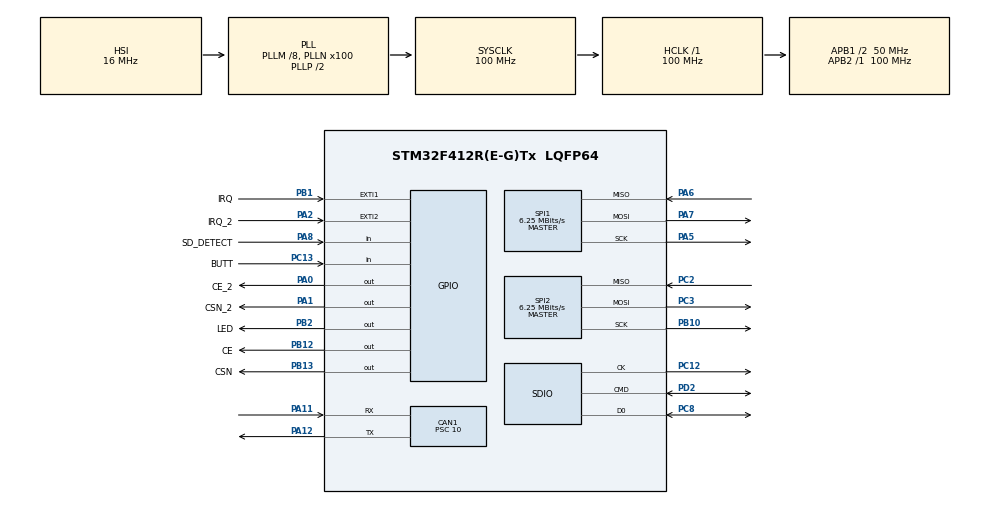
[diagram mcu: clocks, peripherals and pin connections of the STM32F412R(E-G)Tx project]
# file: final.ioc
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CAN1.BS1=CAN_BS1_8TQ
CAN1.CalculateBaudRate=500000
CAN1.CalculateTimeBit=2000
CAN1.CalculateTimeQuantum=200.0
CAN1.Prescaler=10
Dma.Request0=SDIO_RX
Dma.Request1=SDIO_TX
Dma.SDIO_RX.0.Direction=DMA_PERIPH_TO_MEMORY
Dma.SDIO_RX.0.FIFOMode=DMA_FIFOMODE_ENABLE
Dma.SDIO_RX.0.FIFOThreshold=DMA_FIFO_THRESHOLD_FULL
Dma.SDIO_RX.0.Instance=DMA2_Stream3
Dma.SDIO_RX.0.MemBurst=DMA_MBURST_INC4
Dma.SDIO_RX.0.MemDataAlignment=DMA_MDATAALIGN_WORD
Dma.SDIO_RX.0.MemInc=DMA_MINC_ENABLE
Dma.SDIO_RX.0.Mode=DMA_PFCTRL
Dma.SDIO_RX.0.PeriphBurst=DMA_PBURST_INC4
Dma.SDIO_RX.0.PeriphDataAlignment=DMA_PDATAALIGN_WORD
Dma.SDIO_RX.0.PeriphInc=DMA_PINC_DISABLE
Dma.SDIO_RX.0.Priority=DMA_PRIORITY_LOW
Dma.SDIO_TX.1.Direction=DMA_MEMORY_TO_PERIPH
Dma.SDIO_TX.1.FIFOMode=DMA_FIFOMODE_ENABLE
Dma.SDIO_TX.1.FIFOThreshold=DMA_FIFO_THRESHOLD_FULL
Dma.SDIO_TX.1.Instance=DMA2_Stream6
Dma.SDIO_TX.1.MemBurst=DMA_MBURST_INC4
Dma.SDIO_TX.1.MemDataAlignment=DMA_MDATAALIGN_WORD
Dma.SDIO_TX.1.MemInc=DMA_MINC_ENABLE
Dma.SDIO_TX.1.Mode=DMA_PFCTRL
Dma.SDIO_TX.1.PeriphBurst=DMA_PBURST_INC4
Dma.SDIO_TX.1.PeriphDataAlignment=DMA_PDATAALIGN_WORD
Dma.SDIO_TX.1.PeriphInc=DMA_PINC_DISABLE
Dma.SDIO_TX.1.Priority=DMA_PRIORITY_LOW
FATFS.BSP.number=1
FATFS.USE_DMA_CODE_SD=1
FATFS._MAX_SS=4096
FATFS._USE_LFN=1
FATFS0.BSP.STBoard=false
FATFS0.BSP.api=Unknown
FATFS0.BSP.instance=PA8
FATFS0.BSP.ip=GPIO
FATFS0.BSP.mode=Input
FATFS0.BSP.name=Detect_SDIO
FATFS0.BSP.solution=PA8
Mcu.Family=STM32F4
Mcu.Name=STM32F412R(E-G)Tx
Mcu.Package=LQFP64
NVIC.CAN1_RX1_IRQn=true\:0\:0\:false\:false\:true\:true\:true\:true
NVIC.DMA2_Stream3_IRQn=true\:0\:0\:false\:false\:true\:false\:true\:true
NVIC.DMA2_Stream6_IRQn=true\:0\:0\:false\:false\:true\:false\:true\:true
NVIC.EXTI1_IRQn=true\:0\:0\:false\:false\:true\:true\:true\:true
NVIC.EXTI2_IRQn=true\:0\:0\:false\:false\:true\:true\:true\:true
NVIC.PriorityGroup=NVIC_PRIORITYGROUP_4
NVIC.SDIO_IRQn=true\:0\:0\:false\:false\:true\:true\:true\:true
PA0.GPIO_Label=CE_2
PA0.GPIO_Speed=GPIO_SPEED_FREQ_HIGH
PA0.PinState=GPIO_PIN_SET
PA0.Signal=GPIO_Output
PA1.GPIO_Label=CSN_2
PA1.GPIO_Speed=GPIO_SPEED_FREQ_HIGH
PA1.Signal=GPIO_Output
PA11.Mode=CAN_Activate
PA11.Signal=CAN1_RX
PA12.Mode=CAN_Activate
PA12.Signal=CAN1_TX
PA13.Mode=Serial_Wire
PA13.Signal=SYS_JTMS-SWDIO
PA14.Mode=Serial_Wire
PA14.Signal=SYS_JTCK-SWCLK
PA2.GPIO_Label=IRQ_2
PA2.GPIO_ModeDefaultEXTI=GPIO_MODE_IT_FALLING
PA2.Signal=GPXTI2
PA5.Mode=Full_Duplex_Master
PA5.Signal=SPI1_SCK
PA6.Mode=Full_Duplex_Master
PA6.Signal=SPI1_MISO
PA7.Mode=Full_Duplex_Master
PA7.Signal=SPI1_MOSI
PA8.GPIO_Label=SD_DETECT
PA8.GPIO_PuPd=GPIO_PULLDOWN
PA8.Signal=GPIO_Input
PB1.GPIO_Label=IRQ
PB1.GPIO_ModeDefaultEXTI=GPIO_MODE_IT_FALLING
PB1.Signal=GPXTI1
PB10.Mode=Full_Duplex_Master
PB10.Signal=SPI2_SCK
PB12.GPIO_Label=CE
PB12.GPIO_Speed=GPIO_SPEED_FREQ_HIGH
PB12.Signal=GPIO_Output
PB13.GPIO_Label=CSN
PB13.GPIO_Speed=GPIO_SPEED_FREQ_HIGH
PB13.PinState=GPIO_PIN_SET
PB13.Signal=GPIO_Output
PB2.GPIO_Label=LED
PB2.Signal=GPIO_Output
PC12.Mode=SD_1_bit
PC12.Signal=SDIO_CK
PC13.GPIO_Label=BUTT
PC13.GPIO_PuPd=GPIO_PULLDOWN
PC13.Signal=GPIO_Input
PC2.Mode=Full_Duplex_Master
PC2.Signal=SPI2_MISO
PC3.Mode=Full_Duplex_Master
PC3.Signal=SPI2_MOSI
PC8.GPIO_PuPd=GPIO_PULLUP
PC8.Mode=SD_1_bit
PC8.Signal=SDIO_D0
PD2.GPIO_PuPd=GPIO_PULLUP
PD2.Mode=SD_1_bit
PD2.Signal=SDIO_CMD
PH0\ -\ OSC_IN.Mode=HSE-External-Oscillator
PH0\ -\ OSC_IN.Signal=RCC_OSC_IN
PH1\ -\ OSC_OUT.Mode=HSE-External-Oscillator
PH1\ -\ OSC_OUT.Signal=RCC_OSC_OUT
ProjectManager.HeapSize=0x200
ProjectManager.StackSize=0x400
ProjectManager.TargetToolchain=STM32CubeIDE
RCC.AHBFreq_Value=100000000
RCC.APB1CLKDivider=RCC_HCLK_DIV2
RCC.APB1Freq_Value=50000000
RCC.APB1TimFreq_Value=100000000
RCC.APB2Freq_Value=100000000
RCC.APB2TimFreq_Value=100000000
RCC.CortexFreq_Value=100000000
RCC.HCLKFreq_Value=100000000
RCC.HSE_VALUE=8000000
RCC.PLLM=8
RCC.PLLN=100
RCC.PLLQ=4
RCC.SYSCLKFreq_VALUE=100000000
RCC.SYSCLKSource=RCC_SYSCLKSOURCE_PLLCLK
RCC.USBFreq_Value=50000000
RCC.VCOOutputFreq_Value=200000000
SPI1.BaudRatePrescaler=SPI_BAUDRATEPRESCALER_16
SPI1.CalculateBaudRate=6.25 MBits/s
SPI1.Direction=SPI_DIRECTION_2LINES
SPI1.Mode=SPI_MODE_MASTER
SPI1.VirtualType=VM_MASTER
SPI2.BaudRatePrescaler=SPI_BAUDRATEPRESCALER_8
SPI2.CalculateBaudRate=6.25 MBits/s
SPI2.Direction=SPI_DIRECTION_2LINES
SPI2.Mode=SPI_MODE_MASTER
SPI2.VirtualType=VM_MASTER
VP_FATFS_VS_SDIO.Mode=SDIO
board=custom

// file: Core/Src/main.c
/* USER CODE BEGIN Header */
/**
  ******************************************************************************
  * @file           : main.c
  * @brief          : Main program body
  ******************************************************************************
  * @attention
  *
  * Copyright (c) 2024 STMicroelectronics.
  * All rights reserved.
  *
  * This software is licensed under terms that can be found in the LICENSE file
  * in the root directory of this software component.
  * If no LICENSE file comes with this software, it is provided AS-IS.
  *
  ******************************************************************************
  */
/* USER CODE END Header */
#include "main.h"
#include "can.h"
#include "dma.h"
#include "fatfs.h"
#include "sdio.h"
#include "spi.h"
#include "gpio.h"

/* USER CODE BEGIN Includes */
#include "nrf24l01p.h"
/* USER CODE END Includes */

/* USER CODE BEGIN PD */
#define SPI_TX SPI_1
#define SPI_RX SPI_2
/* USER CODE END PD */

/* USER CODE BEGIN PV */
extern uint8_t RX_Message[8];
uint8_t tx_data[NRF24L01P_PAYLOAD_LENGTH] = {'O','m','a','r','2','9','8','\0'};
uint8_t rx_data[NRF24L01P_PAYLOAD_LENGTH] = { 'M', 'o' , '1', '1' , '2' ,'1' , '3','\0'};

FIL Fil;
FATFS FatFs;
FRESULT FR_Status;
int rec = 0;
/* USER CODE END PV */

void SystemClock_Config(void);
/* USER CODE BEGIN PFP */
void HAL_GPIO_EXTI_Callback(uint16_t GPIO_Pin);

static void SDIO_SDCard_Test(void);
static void SD_Init(void);
static void SD_Write(char* data);
static void SD_ClrFile(void);
static void SD_Unmount(void);
/* USER CODE END PFP */

int main(void)
{

  /* MCU Configuration--------------------------------------------------------*/

  /* Reset of all peripherals, Initializes the Flash interface and the Systick. */
  HAL_Init();

  /* Configure the system clock */
  SystemClock_Config();

  /* Initialize all configured peripherals */
  MX_GPIO_Init();
  MX_DMA_Init();
  MX_CAN1_Init();
  MX_SPI2_Init();
  MX_SDIO_SD_Init();
  MX_FATFS_Init();
  MX_SPI1_Init();
  /* USER CODE BEGIN 2 */
  SD_Init();
  SD_ClrFile();
  SD_Write("Hello\n");
  SD_Write("Full Test\n");

  nrf24l01p_rx_init(2500, _1Mbps, SPI_RX);
  nrf24l01p_tx_init(2490, _1Mbps, SPI_TX);

  /* USER CODE END 2 */

  /* Infinite loop */
  while (1)
  {

    /* USER CODE BEGIN 3 */

	  if(HAL_GPIO_ReadPin(BUTT_GPIO_Port, BUTT_Pin))
	  {
        nrf24l01p_tx_transmit(tx_data, SPI_TX);
		HAL_GPIO_WritePin(GPIOB, GPIO_PIN_2, 1);
		HAL_Delay(300);
		HAL_GPIO_WritePin(GPIOB, GPIO_PIN_2, 0);
	  }
  }
  /* USER CODE END 3 */
}

void SystemClock_Config(void)
{
  RCC_OscInitTypeDef RCC_OscInitStruct = {0};
  RCC_ClkInitTypeDef RCC_ClkInitStruct = {0};

  /** Configure the main internal regulator output voltage
  */
  __HAL_RCC_PWR_CLK_ENABLE();
  __HAL_PWR_VOLTAGESCALING_CONFIG(PWR_REGULATOR_VOLTAGE_SCALE1);

  /** Initializes the RCC Oscillators according to the specified parameters
  * in the RCC_OscInitTypeDef structure.
  */
  RCC_OscInitStruct.OscillatorType = RCC_OSCILLATORTYPE_HSI;
  RCC_OscInitStruct.HSIState = RCC_HSI_ON;
  RCC_OscInitStruct.HSICalibrationValue = RCC_HSICALIBRATION_DEFAULT;
  RCC_OscInitStruct.PLL.PLLState = RCC_PLL_ON;
  RCC_OscInitStruct.PLL.PLLSource = RCC_PLLSOURCE_HSI;
  RCC_OscInitStruct.PLL.PLLM = 8;
  RCC_OscInitStruct.PLL.PLLN = 100;
  RCC_OscInitStruct.PLL.PLLP = RCC_PLLP_DIV2;
  RCC_OscInitStruct.PLL.PLLQ = 4;
  RCC_OscInitStruct.PLL.PLLR = 2;
  if (HAL_RCC_OscConfig(&RCC_OscInitStruct) != HAL_OK)
  {
    Error_Handler();
  }

  /** Initializes the CPU, AHB and APB buses clocks
  */
  RCC_ClkInitStruct.ClockType = RCC_CLOCKTYPE_HCLK|RCC_CLOCKTYPE_SYSCLK
                              |RCC_CLOCKTYPE_PCLK1|RCC_CLOCKTYPE_PCLK2;
  RCC_ClkInitStruct.SYSCLKSource = RCC_SYSCLKSOURCE_PLLCLK;
  RCC_ClkInitStruct.AHBCLKDivider = RCC_SYSCLK_DIV1;
  RCC_ClkInitStruct.APB1CLKDivider = RCC_HCLK_DIV2;
  RCC_ClkInitStruct.APB2CLKDivider = RCC_HCLK_DIV1;

  if (HAL_RCC_ClockConfig(&RCC_ClkInitStruct, FLASH_LATENCY_3) != HAL_OK)
  {
    Error_Handler();
  }
}

/* USER CODE BEGIN 4 */
static void SD_Init(void)
{
	//------------------[ Mount The SD Card ]--------------------
	FR_Status = f_mount(&FatFs, SDPath, 1);
	if (FR_Status != FR_OK)
	{
	  HAL_GPIO_WritePin(GPIOB, GPIO_PIN_2, 1);
	}
}

static void SD_Write(char* data)
{
    //------------------[ Open A Text File For Write & Write Data ]--------------------
    //Open the file
    FR_Status = f_open(&Fil, "canTest.txt", FA_WRITE | FA_READ | FA_OPEN_ALWAYS);
    if(FR_Status != FR_OK)
    {
      HAL_GPIO_WritePin(GPIOB, GPIO_PIN_2, 1);
    }

    f_lseek(&Fil, f_size(&Fil));
    FR_Status = f_puts(data, &Fil);

    FR_Status = f_close(&Fil);
}

static void SD_ClrFile(void)
{
    //------------------[ Open A Text File For Write & Write Data ]--------------------
    //Open the file
    FR_Status = f_open(&Fil, "canTest.txt", FA_WRITE | FA_READ | FA_CREATE_ALWAYS);
    if(FR_Status != FR_OK)
    {
      HAL_GPIO_WritePin(GPIOB, GPIO_PIN_2, 1);
    }

    FR_Status = f_close(&Fil);
}

static void SD_Unmount(void)
{
	  FR_Status = f_mount(NULL, "", 0);
	  if (FR_Status != FR_OK)
	  {
		HAL_GPIO_WritePin(GPIOB, GPIO_PIN_2, 1);
	  }
}

void HAL_GPIO_EXTI_Callback(uint16_t GPIO_Pin)
{
	if(GPIO_Pin == NRF24L01P_IRQ_1_PIN_NUMBER)
		nrf24l01p_tx_irq(SPI_TX); // clear interrupt flag

	if(GPIO_Pin == NRF24L01P_IRQ_2_PIN_NUMBER)
	{
		nrf24l01p_rx_receive(rx_data, SPI_RX); // read data when data ready flag is set
	    HAL_GPIO_TogglePin(LED_GPIO_Port, LED_Pin);
	}
}
/* USER CODE END 4 */

void Error_Handler(void)
{
  __disable_irq();
  while (1)
  {
  }
}
